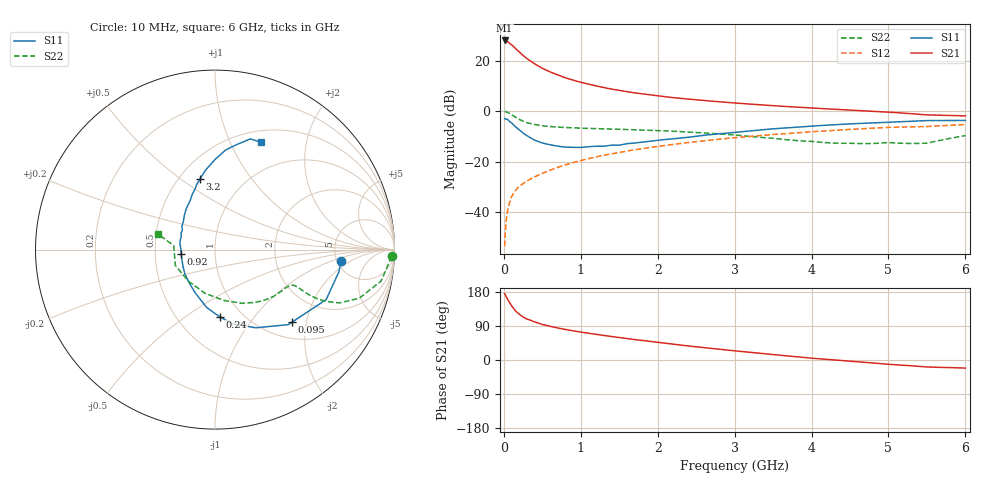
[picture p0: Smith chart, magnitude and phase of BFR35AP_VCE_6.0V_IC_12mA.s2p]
! Infineon Technologies  Discrete & RF Semiconductors
! BFR35AP
! VCE =  6.0 V,  IC =  12 mA
! Common Emitter S-Parameters:  Nov 2015
# GHz  S  MA  R  50
!  f  S11  S21  S12  S22
! GHz  MAG  ANG  MAG  ANG  MAG  ANG  MAG  ANG
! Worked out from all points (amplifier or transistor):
!   210 points, 10 MHz to 6 GHz, reference 50 ohm
!   highest |S21| = 28.0 dB at 10 MHz (marker M1)
!   |S21| within 3 dB of that: start of sweep to 144.9 MHz
!   unconditionally stable (mu >= 1): 559.3 MHz to 2.928 GHz
!   at 185 MHz: K = 0.58, MSG = 27.1 dB, |S12| = -30.3 dB
!   at 1.52 GHz: K = 1.09, MAG = 10.3 dB, |S12| = -16.3 dB
!   at 6 GHz: K = 0.91, MSG = 1.7 dB, |S12| = -5.3 dB
!   S11 on the Smith chart (normalised r, x): 10 MHz: 5.42, -1.38; 95 MHz: 1.33, -1.65; 240 MHz: 0.79, -0.69; 920 MHz: 0.68, -0.03; 3.2 GHz: 0.63, +0.59; 6 GHz: 0.63, +1.31
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0.01  0.7051 -5.2  25.04 175.4  0.0021 89.7  0.9842 -2.2
0.02  0.7013 -10.2  24.7 171.1  0.0042 86.2  0.9713 -4.5
0.05  0.6791 -24.2  23.7 159.6  0.0108 79.8  0.9413 -10.8
0.095  0.5895 -43.3  20.94 144.8  0.0191 71.9  0.8557 -17.8
0.1  0.5842 -45.7  20.73 142.9  0.02 71.4  0.8471 -18.7
0.15  0.4916 -62.4  17.44 129.7  0.0265 66.1  0.7544 -23.2
0.2  0.426 -76.7  14.8 120.6  0.0322 64.3  0.6837 -25.0
0.24  0.3768 -85.5  13.05 115.0  0.0355 63.4  0.6386 -25.6
0.26  0.3571 -89.8  12.3 112.4  0.0373 63.3  0.6195 -25.7
0.3  0.3255 -98.2  10.97 108.0  0.0411 63.8  0.5882 -25.7
0.4  0.2649 -114.7  8.622 100.4  0.0496 64.7  0.5401 -25.1
0.5  0.2332 -128.5  7.033 93.8  0.0583 66.0  0.5098 -24.5
0.7  0.2019 -152.0  5.175 84.4  0.0765 67.1  0.4799 -24.5
0.92  0.1905 -173.3  4.002 76.3  0.0971 66.8  0.4624 -25.7
1.02  0.1912 177.5  3.644 73.0  0.1064 66.6  0.457 -26.5
1.4  0.2109 153.6  2.72 61.9  0.1419 64.6  0.4402 -31.0
2.02  0.2654 128.8  1.984 46.1  0.2012 59.3  0.4092 -41.0
3.1  0.3905 103.6  1.408 22.2  0.3049 47.8  0.3243 -65.9
3.2  0.4034 101.8  1.373 20.3  0.3141 46.5  0.3138 -69.0
4.1  0.5139 88.5  1.127 3.3  0.3972 35.6  0.2418 -107.5
5.1  0.6079 76.9  0.931 -12.6  0.4774 21.8  0.2322 -163.5
6  0.6503 67.0  0.802 -21.3  0.5415 11.4  0.3265 165.0
